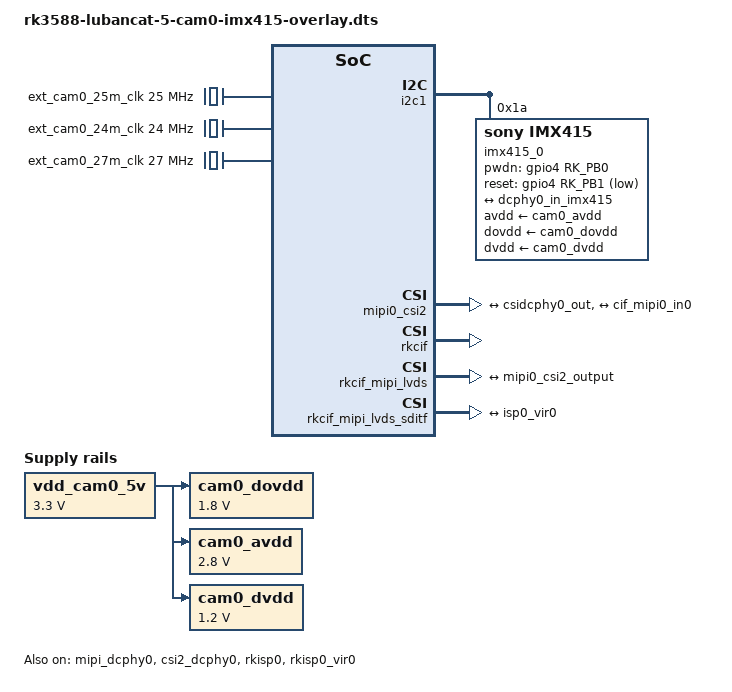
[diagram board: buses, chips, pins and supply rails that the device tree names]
/dts-v1/;
/plugin/;

#include <dt-bindings/usb/pd.h>
#include <dt-bindings/gpio/gpio.h>
#include <dt-bindings/pwm/pwm.h>
#include <dt-bindings/pinctrl/rockchip.h>
#include <dt-bindings/input/rk-input.h>
#include <dt-bindings/display/drm_mipi_dsi.h>
#include <dt-bindings/display/rockchip_vop.h>
#include <dt-bindings/sensor-dev.h>

/ {
	fragment@0 {
		target-path = "/";

		__overlay__ {
			ext_cam0_25m_clk: external-camera-25m-clock {
				compatible = "fixed-clock";
				clock-frequency = <25000000>;
				clock-output-names = "ext_cam0_25m_clk";
				#clock-cells = <0>;
			};

			ext_cam0_24m_clk: external-camera-24m-clock {
				compatible = "fixed-clock";
				#clock-cells = <0>;
				clock-frequency = <24000000>;
				clock-output-names = "ext_cam0_24m_clk";
			};

			ext_cam0_27m_clk: external-camera-27m-clock {
				compatible = "fixed-clock";
				#clock-cells = <0>;
				clock-frequency = <27000000>;
				clock-output-names = "ext_cam0_27m_clk";
			};

			vdd_cam0_5v: vdd-cam-5v-regulator {
				compatible = "regulator-fixed";
				regulator-name = "vdd_cam0_5v";
				regulator-always-on;
				regulator-boot-on;
				regulator-min-microvolt = <3300000>;
				regulator-max-microvolt = <3300000>;
			};

			cam0_dovdd: cam-dovdd {
				compatible = "regulator-fixed";
				regulator-name = "cam0_dovdd";
				regulator-always-on;
				regulator-boot-on;
				regulator-min-microvolt = <1800000>;
				regulator-max-microvolt = <1800000>;
				vin-supply = <&vdd_cam0_5v>;
			};

			cam0_avdd: cam-avdd {
				compatible = "regulator-fixed";
				regulator-name = "cam0_avdd";
				regulator-always-on;
				regulator-boot-on;
				regulator-min-microvolt = <2800000>;
				regulator-max-microvolt = <2800000>;
				vin-supply = <&vdd_cam0_5v>;
			};

			cam0_dvdd: cam-dvdd {
				compatible = "regulator-fixed";
				regulator-name = "cam0_dvdd";
				regulator-always-on;
				regulator-boot-on;
				regulator-min-microvolt = <1200000>;
				regulator-max-microvolt = <1200000>;
				vin-supply = <&vdd_cam0_5v>;
			};
		};
	};

/* Link path: sensor->csi2_dcphy0->mipi0_csi2->rkcif_mipi_lvds--->rkcif_mipi_lvds_sditf->rkisp0_vir0 */
	fragment@1 {
		target = <&i2c1>;
		__overlay__ {
			status = "okay";
			pinctrl-names = "default";
			pinctrl-0 = <&i2c1m2_xfer>;
			#address-cells = <1>;
			#size-cells = <0>;

			imx415_0: imx415@1a {
				compatible = "sony,imx415";
				status = "okay";
				reg = <0x1a>;
				clocks = <&ext_cam0_24m_clk>;
				clock-names = "xvclk";
				// power-domains = <&power RK3588_PD_VI>;
				avdd-supply = <&cam0_avdd>;
				dovdd-supply = <&cam0_dovdd>;
				dvdd-supply = <&cam0_dvdd>;
				pwdn-gpios = <&gpio4 RK_PB0 GPIO_ACTIVE_HIGH>;
				reset-gpios = <&gpio4 RK_PB1 GPIO_ACTIVE_LOW>;

				rockchip,camera-module-index = <0>;
				rockchip,camera-module-facing = "back";
				rockchip,camera-module-name = "CMK-OT2022-PX1";
				rockchip,camera-module-lens-name = "IR0147-50IRC-8M-F20";
				// NO_HDR:0 HDR_X2:5 HDR_X3:6
				// rockchip,camera-hdr-mode = <0>;
				port {
					imx415_out0: endpoint {
						remote-endpoint = <&dcphy0_in_imx415>;
						data-lanes = <1 2 3 4>;
					};
				};
			};
		};
	};

	fragment@2 {
		target = <&mipi_dcphy0>;

		__overlay__ {
			status = "okay";
		};
	};


	fragment@3 {
		target = <&csi2_dcphy0>;

		__overlay__ {
			status = "okay";
			
			ports {
				#address-cells = <1>;
				#size-cells = <0>;

				port@0 {
					reg = <0>;
					#address-cells = <1>;
					#size-cells = <0>;

					dcphy0_in_imx415: endpoint@5 {
						reg = <5>;
						remote-endpoint = <&imx415_out0>;
						data-lanes = <1 2 3 4>;
					};
				};

				port@1 {
					reg = <1>;
					#address-cells = <1>;
					#size-cells = <0>;

					csidcphy0_out: endpoint@0 {
						reg = <0>;
						remote-endpoint = <&mipi0_csi2_input>;
					};
				};
			};
		};
	};

	fragment@4 {
		target = <&mipi0_csi2>;

		__overlay__ {
			status = "okay";

			ports {
				#address-cells = <1>;
				#size-cells = <0>;

				port@0 {
					reg = <0>;
					#address-cells = <1>;
					#size-cells = <0>;

					mipi0_csi2_input: endpoint@1 {
						reg = <1>;
						remote-endpoint = <&csidcphy0_out>;
					};
				};

				port@1 {
					reg = <1>;
					#address-cells = <1>;
					#size-cells = <0>;

					mipi0_csi2_output: endpoint@0 {
						reg = <0>;
						remote-endpoint = <&cif_mipi0_in0>;
					};
				};
			};
		};
	};

	fragment@5 {
		target = <&rkcif>;

		__overlay__ {
			status = "okay";
		};
	};

	fragment@6 {
		target = <&rkcif_mipi_lvds>;

		__overlay__ {
			status = "okay";

			port {
				cif_mipi0_in0: endpoint {
					remote-endpoint = <&mipi0_csi2_output>;
				};
			};
		};
	};

	fragment@7 {
		target = <&rkcif_mipi_lvds_sditf>;

		__overlay__ {
			status = "okay";

			port {
				mipi_lvds_sditf: endpoint {
					remote-endpoint = <&isp0_vir0>;
				};
			};
		};
	};

	fragment@8 {
		target = <&rkcif_mmu>;

		__overlay__ {
			status = "okay";
		};
	};

	fragment@9 {
		target = <&rkisp0>;

		__overlay__ {
			status = "okay";
		};
	};

	fragment@10 {
		target = <&isp0_mmu>;

		__overlay__ {
			status = "okay";
		};
	};

	fragment@11 {
		target = <&rkisp0_vir0>;

		__overlay__ {
			status = "okay";

			port {
				#address-cells = <1>;
				#size-cells = <0>;

				isp0_vir0: endpoint@0 {
					reg = <0>;
					remote-endpoint = <&mipi_lvds_sditf>;
				};
			};
		};
	};

};

